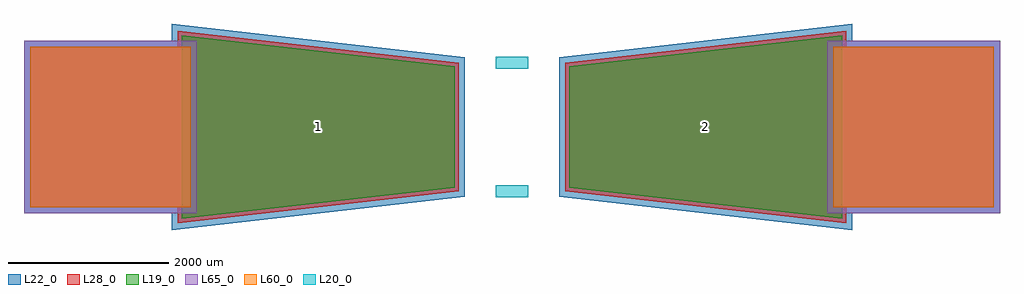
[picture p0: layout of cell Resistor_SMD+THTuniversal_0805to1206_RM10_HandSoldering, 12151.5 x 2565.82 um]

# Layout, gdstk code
import gdstk
lib = gdstk.Library(unit=1e-6, precision=1e-09)
def R(c, l, rs):  # rectangles x0, y0, x1, y1
    for r in rs: c.add(gdstk.rectangle(r[:2], r[2:], *l))
def P(c, l, *ps):  # polygons
    for p in ps: c.add(gdstk.Polygon(p, *l))
L19_0 = (19, 0)
L20_0 = (20, 0)
L22_0 = (22, 0)
L28_0 = (28, 0)
L60_0 = (60, 0)
L65_0 = (65, 0)

resistor_smd_thtuniversa = lib.new_cell('Resistor_SMD+THTuniversal_0805to1206_RM10_HandSoldering')
P(resistor_smd_thtuniversa, L19_0, [(712.94,-755.473),(712.94,755.473),(4113.06,1142.859),(4113.06,-1142.859)],
  [(-4113.06,-1142.859),(-4113.06,1142.859),(-712.94,755.473),(-712.94,-755.473)])
R(resistor_smd_thtuniversa, L22_0, [(-6075.75,-1074.49,-3926.77,1074.49), (3926.77,-1074.49,6075.75,1074.49)])
P(resistor_smd_thtuniversa, L22_0, [(587.94,-867.04),(587.94,867.04),(4238.06,1282.91),(4238.06,-1282.91)],
  [(-4238.06,-1282.91),(-4238.06,1282.91),(-587.94,867.04),(-587.94,-867.04)])
R(resistor_smd_thtuniversa, L28_0, [(-6000.75,-999.49,-4001.77,999.49), (4001.77,-999.49,6000.75,999.49)])
P(resistor_smd_thtuniversa, L28_0, [(662.94,-800.1),(662.94,800.1),(4163.06,1198.88),(4163.06,-1198.88)],
  [(-4163.06,-1198.88),(-4163.06,1198.88),(-662.94,800.1),(-662.94,-800.1)])
R(resistor_smd_thtuniversa, L60_0, [(-6000.75,-999.49,-4001.77,999.49), (4001.77,-999.49,6000.75,999.49)])
R(resistor_smd_thtuniversa, L65_0, [(-6075.75,-1074.49,-3926.77,1074.49), (3926.77,-1074.49,6075.75,1074.49)])
resistor_smd_thtuniversa.add(gdstk.FlexPath([(-200.66,800.1),(200.66,800.1)], 149.998, ends="flush", simple_path=True, layer=20, datatype=0))  # L20_0
resistor_smd_thtuniversa.add(gdstk.FlexPath([(-99.06,800.1),(-200.66,800.1)], 149.998, ends="flush", simple_path=True, layer=20, datatype=0))  # L20_0
resistor_smd_thtuniversa.add(gdstk.FlexPath([(0,-800.1),(-200.66,-800.1)], 149.998, ends="flush", simple_path=True, layer=20, datatype=0))  # L20_0
resistor_smd_thtuniversa.add(gdstk.FlexPath([(0,-800.1),(200.66,-800.1)], 149.998, ends="flush", simple_path=True, layer=20, datatype=0))  # L20_0
resistor_smd_thtuniversa.add(gdstk.Label('2', (2413,0), layer=28, texttype=0))
resistor_smd_thtuniversa.add(gdstk.Label('1', (-2413,0), layer=28, texttype=0))
resistor_smd_thtuniversa.add(gdstk.Label('type', (-398.78,-4201.16), layer=9, texttype=0))
resistor_smd_thtuniversa.add(gdstk.Label('devicename', (99.06,3098.8), layer=9, texttype=0))

lib.write_gds('Resistor_SMD_THTuniversal_0805to1206_RM10_HandSoldering.gds')
